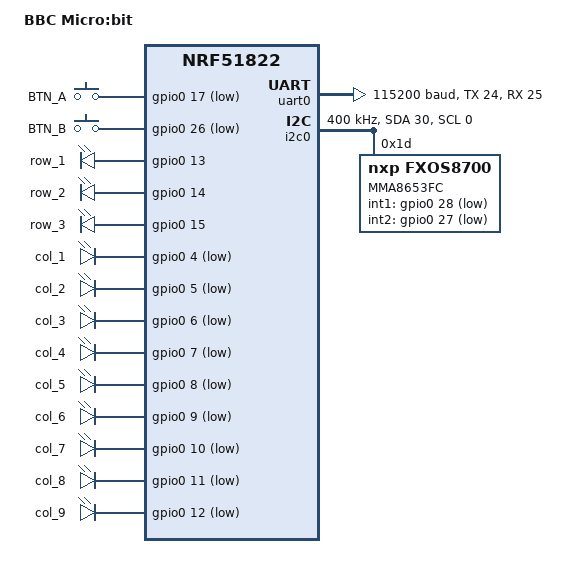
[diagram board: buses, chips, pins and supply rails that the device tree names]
/*
 * Copyright (c) 2017 Linaro Limited
 *
 * SPDX-License-Identifier: Apache-2.0
 */

/dts-v1/;
#include <nordic/nrf51822_qfaa.dtsi>

/ {
	model = "BBC Micro:bit";
	compatible = "bbc,microbit";

	/* These aliases are provided for compatibility with samples */
	aliases {
		sw0 = &buttonA;
		sw1 = &buttonB;
	};

	chosen {
		zephyr,console = &uart0;
		zephyr,shell-uart = &uart0;
		zephyr,bt-mon-uart = &uart0;
		zephyr,bt-c2h-uart = &uart0;
		zephyr,sram = &sram0;
		zephyr,flash = &flash0;
		zephyr,code-partition = &slot0_partition;
	};

	gpio_keys {
		compatible = "gpio-keys";
		buttonA: button_0 {
			label = "BTN_A";
			gpios = <&gpio0 17 GPIO_ACTIVE_LOW>;
		};

		buttonB: button_1 {
			label = "BTN_B";
			gpios = <&gpio0 26 GPIO_ACTIVE_LOW>;
		};
	};
	led_matrix {
		compatible = "gpio-leds";
		row_1: led_row1 {
			gpios = <&gpio0 13 GPIO_ACTIVE_HIGH>;
		};
		row_2: led_row2 {
			gpios = <&gpio0 14 GPIO_ACTIVE_HIGH>;
		};
		row_3: led_row3 {
			gpios = <&gpio0 15 GPIO_ACTIVE_HIGH>;
		};

		col_1: led_col1 {
			gpios = <&gpio0 4 GPIO_ACTIVE_LOW>;
		};
		col_2: led_col2 {
			gpios = <&gpio0 5 GPIO_ACTIVE_LOW>;
		};
		col_3: led_col3 {
			gpios = <&gpio0 6 GPIO_ACTIVE_LOW>;
		};
		col_4: led_col4 {
			gpios = <&gpio0 7 GPIO_ACTIVE_LOW>;
		};
		col_5: led_col5 {
			gpios = <&gpio0 8 GPIO_ACTIVE_LOW>;
		};
		col_6: led_col6 {
			gpios = <&gpio0 9 GPIO_ACTIVE_LOW>;
		};
		col_7: led_col7 {
			gpios = <&gpio0 10 GPIO_ACTIVE_LOW>;
		};
		col_8: led_col8 {
			gpios = <&gpio0 11 GPIO_ACTIVE_LOW>;
		};
		col_9: led_col9 {
			gpios = <&gpio0 12 GPIO_ACTIVE_LOW>;
		};
	};

};

&gpiote {
	status = "okay";
};

&gpio0 {
	status = "okay";
};

&uart0 {
	status = "okay";
	current-speed = <115200>;
	tx-pin = <24>;
	rx-pin = <25>;
};

&i2c0 {
	status = "okay";
	clock-frequency = <I2C_BITRATE_FAST>;
	sda-pin = <30>;
	scl-pin = <0>;

	/* See https://tech.microbit.org/hardware/i2c/ for board variants */

	/* v1.3 MMA8653FC (= FXOS8700) + MAG3110 */
	mma8653fc@1d {
		compatible = "nxp,fxos8700", "nxp,mma8653fc";
		status = "okay";
		reg = <0x1d>;
		label = "MMA8653FC";
		int1-gpios = <&gpio0 28 GPIO_ACTIVE_LOW>;
		int2-gpios = <&gpio0 27 GPIO_ACTIVE_LOW>;
	};

	/* v1.5 variant 1 LSM303AGR */
	lsm303agr-magn@1e {
		compatible = "st,lis2mdl", "st,lsm303agr-magn";
		status = "disabled";
		reg = <0x1e>;
		label = "LSM303AGR-MAGN";
		irq-gpios = <&gpio0 27 GPIO_ACTIVE_HIGH>;	/* A3 */
	};

	lsm303agr-accel@19 {
		compatible = "st,lis2dh", "st,lsm303agr-accel";
		status = "disabled";
		reg = <0x19>;
		label = "LSM303AGR-ACCEL";
		irq-gpios = <&gpio0 28 GPIO_ACTIVE_HIGH>;
	};
};

&flash0 {

	partitions {
		compatible = "fixed-partitions";
		#address-cells = <1>;
		#size-cells = <1>;

		boot_partition: partition@0 {
			label = "mcuboot";
			reg = <0x00000000 0x8000>;
		};
		slot0_partition: partition@8000 {
			label = "image-0";
			reg = <0x00008000 0x1a000>;
		};
		slot1_partition: partition@22000 {
			label = "image-1";
			reg = <0x00022000 0x1a000>;
		};
		scratch_partition: partition@3c000 {
			label = "image-scratch";
			reg = <0x0003c000 0x2000>;
		};
		storage_partition: partition@3e000 {
			label = "storage";
			reg = <0x0003e000 0x00002000>;
		};
	};
};
